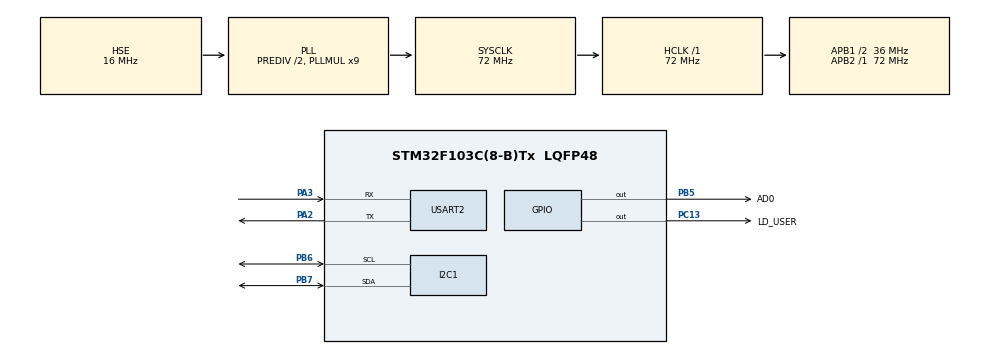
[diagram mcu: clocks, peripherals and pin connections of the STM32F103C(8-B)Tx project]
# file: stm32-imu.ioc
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Mcu.Family=STM32F1
Mcu.Name=STM32F103C(8-B)Tx
Mcu.Package=LQFP48
NVIC.PriorityGroup=NVIC_PRIORITYGROUP_4
PA2.Mode=Asynchronous
PA2.Signal=USART2_TX
PA3.GPIO_PuPd=GPIO_PULLUP
PA3.Mode=Asynchronous
PA3.Signal=USART2_RX
PB5.GPIO_Label=AD0
PB5.Signal=GPIO_Output
PB6.Mode=I2C
PB6.Signal=I2C1_SCL
PB7.Mode=I2C
PB7.Signal=I2C1_SDA
PC13-TAMPER-RTC.GPIO_Label=LD_USER
PC13-TAMPER-RTC.PinState=GPIO_PIN_RESET
PC13-TAMPER-RTC.Signal=GPIO_Output
PD0-OSC_IN.Mode=HSE-External-Oscillator
PD0-OSC_IN.Signal=RCC_OSC_IN
PD1-OSC_OUT.Mode=HSE-External-Oscillator
PD1-OSC_OUT.Signal=RCC_OSC_OUT
ProjectManager.HeapSize=0x200
ProjectManager.StackSize=0x400
ProjectManager.TargetToolchain=STM32CubeIDE
RCC.48MHZClocksFreq_Value=37500000
RCC.AHBFreq_Value=72000000
RCC.APB1CLKDivider=RCC_HCLK_DIV2
RCC.APB1Freq_Value=36000000
RCC.APB1TimFreq_Value=72000000
RCC.APB2Freq_Value=72000000
RCC.APB2TimFreq_Value=72000000
RCC.CortexFreq_Value=75000000
RCC.HCLKFreq_Value=72000000
RCC.HSEDivPLL=RCC_HSE_PREDIV_DIV2
RCC.HSE_VALUE=16000000
RCC.HSI_VALUE=16000000
RCC.LSE_VALUE=32768
RCC.PLLM=25
RCC.PLLMUL=RCC_PLL_MUL9
RCC.PLLN=150
RCC.PLLSourceVirtual=RCC_PLLSOURCE_HSE
RCC.SYSCLKFreq_VALUE=72000000
RCC.SYSCLKSource=RCC_SYSCLKSOURCE_PLLCLK
RCC.USBFreq_Value=72000000
RCC.VCOOutputFreq_Value=150000000
USART2.VirtualMode=VM_ASYNC
VP_SYS_VS_ND.Mode=No_Debug
board=custom

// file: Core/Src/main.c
/* USER CODE BEGIN Header */
/**
 ******************************************************************************
 * @file           : main.c
 * @brief          : Main program body
 ******************************************************************************
 * @attention
 *
 * Copyright (c) 2023 STMicroelectronics.
 * All rights reserved.
 *
 * This software is licensed under terms that can be found in the LICENSE file
 * in the root directory of this software component.
 * If no LICENSE file comes with this software, it is provided AS-IS.
 *
 ******************************************************************************
 */
/* USER CODE END Header */
#include "main.h"
#include "i2c.h"
#include "usart.h"
#include "gpio.h"

/* USER CODE BEGIN Includes */
#include "stdio.h"
#include "math.h"

// Custom libraries
#include "mpu6500.h"
#include "bme280.h"
#include "IIRFilter.h"

#ifdef __GNUC__
#define PUTCHAR_PROTOTYPE int __io_putchar(int ch)
#else
#define PUTCHAR_PROTOTYPE int fputc(int ch, FILE *f)
#endif

PUTCHAR_PROTOTYPE
{
	USART2->DR = (uint8_t) ch;
	while (!LL_USART_IsActiveFlag_TXE(USART2));
	return ch;
}

/* USER CODE END Includes */

/* USER CODE BEGIN PD */
#define PI 3.14159265f
#define G_MPS2 9.81f

#define LED_TOGGLE_RATE_HZ 5
#define MPU_SAMPLE_RATE_HZ 250

/* USER CODE END PD */

/* USER CODE BEGIN PV */
struct Attitude angles = { 0 };

/* USER CODE END PV */

void SystemClock_Config(void);
/* USER CODE BEGIN PFP */
int8_t bme280_get_altitude(double *altitude, struct bme280_dev *dev);
void mag_calibration(struct MPU_Handle * mpu);

/* USER CODE END PFP */

/* USER CODE BEGIN 0 */
void toggle_led()
{
	if ((GPIOC->IDR & (1 << 13)))
		GPIOC->BSRR = (uint32_t) (1 << (13 + 16));
	else
		GPIOC->BSRR = (uint32_t) (1 << 13);
}

void print_mpu_all_regs(struct MPU_Handle *mpu)
{
	uint8_t data;

	printf("START === \r\n");
	for (int i = 0; i < 127; i++) {
		MPU_ReadReg(mpu, i, &data, 1);
		printf("register %x: %x\r\n", i, data);
	}
	printf("STOP ==== \r\n");
}

/* USER CODE END 0 */

int main(void)
{

	/* MCU Configuration--------------------------------------------------------*/

	/* Reset of all peripherals, Initializes the Flash interface and the Systick. */
	HAL_Init();

	/* Configure the system clock */
	SystemClock_Config();

	/* Initialize all configured peripherals */
	MX_GPIO_Init();
	MX_I2C1_Init();
	MX_USART2_UART_Init();
	/* USER CODE BEGIN 2 */

	// wait some time for the sensors to stabilize
	LL_mDelay(1000);

	// Setting up MPU and its filters
	struct MPU_Handle mpu;
	MPU_Init(&mpu, &hi2c1);
	MPU_SetAccelFS(&mpu, MPU6500_ACCEL_FS_2G);
	MPU_SetGyroFS(&mpu, MPU6500_GYRO_FS_2000DPS);
	LL_mDelay(100);
	MPU_Calibrate(&mpu);

	struct IIRFilter theta_filter;
	IIR_Init(&theta_filter, 1.735, -0.766, 0.008, 0.016, 0.008); // 15Hz

	struct IIRFilter phi_filter;
	IIR_Init(&phi_filter, 1.735, -0.766, 0.008, 0.016, 0.008); // 15 Hz

//	// Setting up BME280
//	struct bme280_dev bme280;
//	struct bme280_settings bme280_settings;
//
//	bme280_init(&bme280, &hi2c1);
//	bme280_get_sensor_settings(&bme280_settings, &bme280);
//
//	bme280_settings.filter = BME280_FILTER_COEFF_4;
//
//	bme280_settings.osr_p = BME280_OVERSAMPLING_16X;
//	bme280_settings.osr_t = BME280_NO_OVERSAMPLING;
//	bme280_settings.osr_h = BME280_NO_OVERSAMPLING;
//
//	bme280_settings.standby_time = BME280_STANDBY_TIME_0_5_MS;
//
//	bme280_set_sensor_settings(BME280_SEL_OSR_PRESS | BME280_SEL_OSR_TEMP
//				   | BME280_SEL_FILTER | BME280_SEL_STANDBY,
//				   &bme280_settings, &bme280);
//	bme280_set_sensor_mode(BME280_POWERMODE_NORMAL, &bme280);
	/* USER CODE END 2 */

	/* Infinite loop */
	/* USER CODE BEGIN WHILE */

	LL_mDelay(1000);
	printf("Program is starting!\r\n");

	uint32_t timerLED = HAL_GetTick();
	uint32_t timerMPU = HAL_GetTick();

	while (1) {
		if (HAL_GetTick() - timerLED > 1000) {
			toggle_led();
			timerLED = HAL_GetTick();
		}

		if (HAL_GetTick() - timerMPU > 1000 / MPU_SAMPLE_RATE_HZ) {
			MPU_GetSensorData(&mpu);

			// do trigonometric calculations beforehand to avoid repetition
			float cos_phi = cos(angles.phi);
			float sin_phi = sin(angles.phi);
			float cos_theta = cos(angles.theta);
			float sin_theta = sin(angles.theta);
			float tan_theta = tan(angles.theta);

			// calculate pitch and roll from accel
			angles.theta_a = -atan2(mpu.a.x, sqrt(mpu.a.y * mpu.a.y + mpu.a.z * mpu.a.z));
			angles.phi_a = atan2(mpu.a.y, sqrt(mpu.a.x * mpu.a.x + mpu.a.z * mpu.a.z));

			mag_calibration(&mpu);

			float heading_x = mpu.m.x * cos_phi
					+ mpu.m.y * sin_theta * sin_phi
					- mpu.m.z * cos_theta * sin_phi;

			float heading_y = mpu.m.y * cos_theta
					+ mpu.m.z * sin_theta;

			angles.psi_a = PI + atan2(heading_y, heading_x);

			// filter accel theta calculation
			angles.theta_a = IIR_Update(&theta_filter, angles.theta_a);
			angles.phi_a = IIR_Update(&phi_filter, angles.phi_a);

			// convert bodyframe gyro rates into euler frame gyro rate
			angles.theta_dot = mpu.g.y * cos_phi -
					   mpu.g.z * sin_phi;

			angles.phi_dot = mpu.g.x + mpu.g.y * sin_phi * tan_theta +
					 mpu.g.z * cos_phi * tan_theta;

			angles.psi_dot = mpu.g.y * sin_phi/cos_theta + mpu.g.z * cos_phi/cos_theta;

			// calculate angle from gyro by integrating
			angles.theta_g = angles.theta + ((float)(HAL_GetTick() - timerMPU) / 1000.0f) * angles.theta_dot;
			angles.phi_g = angles.phi + ((float) (HAL_GetTick() - timerMPU) / 1000.0f) * angles.phi_dot;
			angles.psi_g = angles.psi + ((float) (HAL_GetTick() - timerMPU) / 1000.0f) * angles.psi_dot;

			timerMPU = HAL_GetTick();

			// complementary filter
			float alpha = 0.02;
			angles.theta = angles.theta_a * alpha + (1 - alpha) * angles.theta_g;
			angles.phi = angles.phi_a * alpha + (1 - alpha) * angles.phi_g;
			angles.psi = angles.psi_a * alpha + (1 - alpha) * angles.psi_g;

			// altitude estimation
//			double alt = 0;
//			bme280_get_altitude(&alt, &bme280);
			printf("%f,%f,%f,%f,%f,%f\r\n",
				angles.theta * 180 / PI,
				angles.theta_a * 180 / PI,
				angles.phi * 180 / PI,
				angles.phi_a * 180 / PI,
				angles.psi * 180 / PI,
				angles.psi_a * 180 / PI
			);

		}
		/* USER CODE END WHILE */

	}
}

void SystemClock_Config(void)
{
	RCC_OscInitTypeDef RCC_OscInitStruct = { 0 };
	RCC_ClkInitTypeDef RCC_ClkInitStruct = { 0 };

	/** Initializes the RCC Oscillators according to the specified parameters
	 * in the RCC_OscInitTypeDef structure.
	 */
	RCC_OscInitStruct.OscillatorType = RCC_OSCILLATORTYPE_HSE;
	RCC_OscInitStruct.HSEState = RCC_HSE_ON;
	RCC_OscInitStruct.HSEPredivValue = RCC_HSE_PREDIV_DIV2;
	RCC_OscInitStruct.HSIState = RCC_HSI_ON;
	RCC_OscInitStruct.PLL.PLLState = RCC_PLL_ON;
	RCC_OscInitStruct.PLL.PLLSource = RCC_PLLSOURCE_HSE;
	RCC_OscInitStruct.PLL.PLLMUL = RCC_PLL_MUL9;
	if (HAL_RCC_OscConfig(&RCC_OscInitStruct) != HAL_OK) {
		Error_Handler();
	}

	/** Initializes the CPU, AHB and APB buses clocks
	 */
	RCC_ClkInitStruct.ClockType = RCC_CLOCKTYPE_HCLK | RCC_CLOCKTYPE_SYSCLK | RCC_CLOCKTYPE_PCLK1 | RCC_CLOCKTYPE_PCLK2;
	RCC_ClkInitStruct.SYSCLKSource = RCC_SYSCLKSOURCE_PLLCLK;
	RCC_ClkInitStruct.AHBCLKDivider = RCC_SYSCLK_DIV1;
	RCC_ClkInitStruct.APB1CLKDivider = RCC_HCLK_DIV2;
	RCC_ClkInitStruct.APB2CLKDivider = RCC_HCLK_DIV1;

	if (HAL_RCC_ClockConfig(&RCC_ClkInitStruct, FLASH_LATENCY_2) != HAL_OK) {
		Error_Handler();
	}
}

/* USER CODE BEGIN 4 */

int8_t bme280_get_altitude(double *altitude, struct bme280_dev *dev)
{
	struct bme280_data bme280_data;

	static double base_pressure = 0.0;
	*altitude = 0;

//	int8_t rslt = null_ptr_check(dev);
	int8_t rslt = BME280_OK;
	if (rslt == BME280_OK) {
		if (base_pressure == 0.0) {
			for (uint16_t i = 0; i < 10000; i++) {
				bme280_get_sensor_data(BME280_PRESS, &bme280_data, dev);
				base_pressure += bme280_data.pressure / 10000.0;
				LL_mDelay(1);
			}
		} else {
//			double pres_to_alt_coef = -8781.38014;
			double rho_g = 12.0131;
			bme280_get_sensor_data(BME280_PRESS, &bme280_data, dev);
//			altitude[0] = pres_to_alt_coef * log(bme280_data.pressure/base_pressure);
			*altitude = -(bme280_data.pressure - base_pressure) / rho_g;
		}
	}

	return rslt;

}

void mag_calibration(struct MPU_Handle * mpu)
{
	// heading - yaw calibration and estimation from magnetometer
	float A_1[3][3] = {
			{0.8518542, 0.01425504, 0.05116978},
			{0.01425504, 0.89539421, 0.01930373},
			{0.05116978, 0.01930373, 0.52186654}
	};

	float b[3] = {0.63848257, 4.42279711, -19.87603537};

	mpu->m.x -= b[0];
	mpu->m.y -= b[1];
	mpu->m.z -= b[2];

	mpu->m.x = A_1[0][0] * mpu->m.x + A_1[0][1] * mpu->m.y + A_1[0][2] * mpu->m.z;
	mpu->m.y = A_1[1][0] * mpu->m.x + A_1[1][1] * mpu->m.y + A_1[1][2] * mpu->m.z;
	mpu->m.z = A_1[2][0] * mpu->m.x + A_1[2][1] * mpu->m.y + A_1[2][2] * mpu->m.z;
}
/* USER CODE END 4 */

void Error_Handler(void)
{
	__disable_irq();
	while (1) {
	}
}
